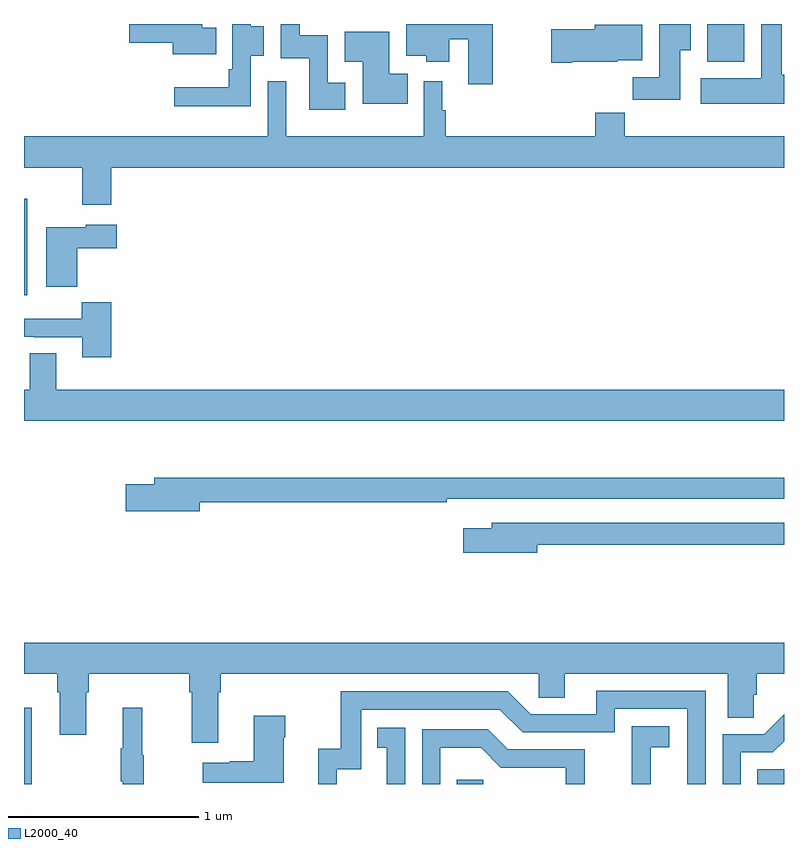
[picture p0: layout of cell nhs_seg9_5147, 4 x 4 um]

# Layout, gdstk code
import gdstk
lib = gdstk.Library(unit=1e-6, precision=1e-09)
def R(c, l, rs):  # rectangles x0, y0, x1, y1
    for r in rs: c.add(gdstk.rectangle(r[:2], r[2:], *l))
def P(c, l, *ps):  # polygons
    for p in ps: c.add(gdstk.Polygon(p, *l))
L2000_40 = (2000, 40)

nhs_seg9_5147 = lib.new_cell('nhs_seg9_5147')
R(nhs_seg9_5147, L2000_40, [(409,1202.5,409.042,1202.902), (411.277,1202.5,411.417,1202.523), (412.858,1202.5,413,1202.578), (409,1205.073,409.018,1205.581), (412.595,1206.302,412.792,1206.5)])
P(nhs_seg9_5147, L2000_40, [(410.193,1206.334),(410.263,1206.334),(410.263,1206.489),(410.193,1206.489),(410.193,1206.5),(410.097,1206.5),(410.097,1206.262),(410.077,1206.262),(410.077,1206.166),(409.791,1206.166),(409.791,1206.068),(410.193,1206.068)],
  [(410.012,1206.481),(409.939,1206.481),(409.939,1206.5),(409.554,1206.5),(409.554,1206.401),(409.784,1206.401),(409.784,1206.341),(410.012,1206.341)],
  [(411.468,1206.5),(411.011,1206.5),(411.011,1206.332),(411.116,1206.332),(411.116,1206.302),(411.238,1206.302),(411.238,1206.419),(411.338,1206.419),(411.338,1206.183),(411.468,1206.183)],
  [(413,1206.234),(412.987,1206.234),(412.987,1206.5),(412.88,1206.5),(412.88,1206.214),(412.563,1206.214),(412.563,1206.08),(413,1206.08)],
  [(412.453,1206.361),(412.51,1206.361),(412.51,1206.5),(412.343,1206.5),(412.343,1206.22),(412.204,1206.22),(412.204,1206.102),(412.453,1206.102)],
  [(410.692,1206.19),(410.598,1206.19),(410.598,1206.442),(410.451,1206.442),(410.451,1206.5),(410.352,1206.5),(410.352,1206.32),(410.502,1206.32),(410.502,1206.05),(410.692,1206.05)],
  [(411.886,1206.302),(412.122,1206.302),(412.122,1206.308),(412.255,1206.308),(412.255,1206.496),(412.004,1206.496),(412.004,1206.473),(411.774,1206.473),(411.774,1206.295),(411.886,1206.295)],
  [(411.02,1206.238),(410.923,1206.238),(410.923,1206.46),(410.687,1206.46),(410.687,1206.302),(410.783,1206.302),(410.783,1206.08),(411.02,1206.08)],
  [(409.46,1205.744),(413,1205.744),(413,1205.908),(412.163,1205.908),(412.163,1206.032),(412.007,1206.032),(412.007,1205.908),(411.221,1205.908),(411.221,1206.045),(411.202,1206.045),(411.202,1206.199),(411.105,1206.199),(411.105,1205.908),(410.379,1205.908),(410.379,1206.199),(410.283,1206.199),(410.283,1205.908),(409,1205.908),(409,1205.744),(409.307,1205.744),(409.307,1205.55),(409.46,1205.55)],
  [(409.28,1205.321),(409.489,1205.321),(409.489,1205.443),(409.326,1205.443),(409.326,1205.431),(409.118,1205.431),(409.118,1205.117),(409.28,1205.117)],
  [(409.46,1205.035),(409.305,1205.035),(409.305,1204.948),(409,1204.948),(409,1204.854),(409.051,1204.854),(409.051,1204.851),(409.307,1204.851),(409.307,1204.746),(409.46,1204.746)],
  [(413,1204.576),(409.171,1204.576),(409.171,1204.766),(409.031,1204.766),(409.031,1204.576),(409,1204.576),(409,1204.412),(413,1204.412)],
  [(409.924,1203.982),(411.224,1203.982),(411.224,1204.002),(413,1204.002),(413,1204.111),(409.685,1204.111),(409.685,1204.077),(409.536,1204.077),(409.536,1203.935),(409.924,1203.935)],
  [(411.7,1203.76),(413,1203.76),(413,1203.876),(411.461,1203.876),(411.461,1203.847),(411.312,1203.847),(411.312,1203.718),(411.7,1203.718)],
  [(410.023,1202.984),(410.036,1202.984),(410.036,1203.08),(411.708,1203.08),(411.708,1202.953),(411.847,1202.953),(411.847,1203.08),(412.703,1203.08),(412.703,1202.848),(412.842,1202.848),(412.842,1202.971),(412.856,1202.971),(412.856,1203.08),(413,1203.08),(413,1203.244),(409,1203.244),(409,1203.08),(409.175,1203.08),(409.175,1202.984),(409.187,1202.984),(409.187,1202.76),(409.327,1202.76),(409.327,1202.984),(409.34,1202.984),(409.34,1203.08),(409.871,1203.08),(409.871,1202.984),(409.883,1202.984),(409.883,1202.718),(410.023,1202.718)],
  [(410.646,1202.577),(410.775,1202.577),(410.775,1202.892),(411.504,1202.892),(411.624,1202.772),(412.11,1202.772),(412.11,1202.895),(412.491,1202.895),(412.491,1202.5),(412.587,1202.5),(412.587,1202.991),(412.013,1202.991),(412.013,1202.868),(411.666,1202.868),(411.546,1202.988),(410.667,1202.988),(410.667,1202.686),(410.549,1202.686),(410.549,1202.5),(410.646,1202.5)],
  [(409.63,1202.652),(409.622,1202.652),(409.622,1202.902),(409.52,1202.902),(409.52,1202.689),(409.509,1202.689),(409.509,1202.515),(409.52,1202.515),(409.52,1202.5),(409.63,1202.5)],
  [(412.773,1202.667),(412.942,1202.667),(413,1202.725),(413,1202.867),(412.896,1202.763),(412.677,1202.763),(412.677,1202.5),(412.773,1202.5)],
  [(410.368,1202.747),(410.376,1202.747),(410.376,1202.86),(410.21,1202.86),(410.21,1202.621),(410.084,1202.621),(410.084,1202.611),(409.941,1202.611),(409.941,1202.507),(410.368,1202.507)],
  [(412.298,1202.693),(412.396,1202.693),(412.396,1202.803),(412.198,1202.803),(412.198,1202.597),(412.199,1202.597),(412.199,1202.5),(412.298,1202.5)],
  [(411.006,1202.797),(410.86,1202.797),(410.86,1202.691),(410.909,1202.691),(410.909,1202.5),(411.006,1202.5)],
  [(411.192,1202.69),(411.406,1202.69),(411.51,1202.586),(411.852,1202.586),(411.852,1202.5),(411.951,1202.5),(411.951,1202.682),(411.547,1202.682),(411.442,1202.787),(411.096,1202.787),(411.096,1202.5),(411.192,1202.5)])

lib.write_gds('nhs_seg9_5147.gds')
